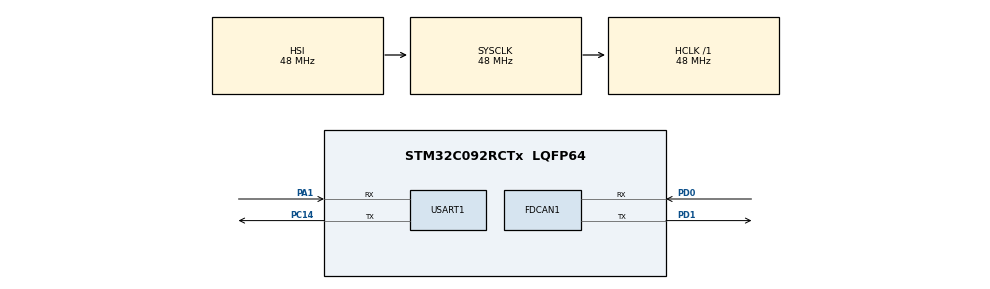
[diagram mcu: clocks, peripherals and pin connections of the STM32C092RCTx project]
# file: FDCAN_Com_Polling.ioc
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FDCAN1.AutoRetransmission=ENABLE
FDCAN1.CalculateBaudRateData=1000000
FDCAN1.CalculateBaudRateNominal=1000000
FDCAN1.CalculateTimeBitNominal=1000
FDCAN1.CalculateTimeQuantumNominal=20.833333333333332
FDCAN1.DataSyncJumpWidth=6
FDCAN1.DataTimeSeg1=17
FDCAN1.DataTimeSeg2=6
FDCAN1.FrameFormat=FDCAN_FRAME_FD_BRS
FDCAN1.NominalPrescaler=1
FDCAN1.NominalSyncJumpWidth=12
FDCAN1.NominalTimeSeg1=35
FDCAN1.NominalTimeSeg2=12
FDCAN1.StdFiltersNbr=1
FDCAN1.TransmitPause=ENABLE
Mcu.Family=STM32C0
Mcu.Name=STM32C092RCTx
Mcu.Package=LQFP64
NUCLEO-C092RC.LD1=true
NUCLEO-C092RC.LD2=true
NUCLEO-C092RC.VCP=true
PA1.Mode=Asynchronous
PA1.Signal=USART1_RX
PC14-OSCX_IN(PC14).Mode=Asynchronous
PC14-OSCX_IN(PC14).Signal=USART1_TX
PD0.Mode=FDCAN_Activate
PD0.Signal=FDCAN1_RX
PD1.Mode=FDCAN_Activate
PD1.Signal=FDCAN1_TX
ProjectManager.HeapSize=0x200
ProjectManager.StackSize=0x400
ProjectManager.TargetToolchain=STM32CubeIDE
RCC.ADCFreq_Value=48000000
RCC.AHBFreq_Value=48000000
RCC.CortexFreq_Value=48000000
RCC.EXTERNAL_CLOCK_VALUE=12288000
RCC.HCLKFreq_Value=48000000
RCC.HSE_VALUE=8000000
RCC.HSISYSCLKDivider=RCC_HSI_DIV1
RCC.HSI_VALUE=48000000
RCC.LSE_VALUE=32768
RCC.SYSCLKFreq_VALUE=48000000
USART1.VirtualMode-Asynchronous=VM_ASYNC
VP_NUCLEO-C092RC_VS_BSP_COMMON.Mode=COMMON
board=NUCLEO-C092RC

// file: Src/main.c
/* USER CODE BEGIN Header */
/**
  ******************************************************************************
  * @file    FDCAN/FDCAN_Com_Polling/Src/main.c
  * @author  MCD Application Team
  * @brief   This sample code shows how to achieve Polling Process Communication
  *          between two FDCAN units.
  ******************************************************************************
  * @attention
  *
  * Copyright (c) 2024 STMicroelectronics.
  * All rights reserved.
  *
  * This software is licensed under terms that can be found in the LICENSE file
  * in the root directory of this software component.
  * If no LICENSE file comes with this software, it is provided AS-IS.
  *
  ******************************************************************************
  */
/* USER CODE END Header */
#include "main.h"

/* USER CODE BEGIN PD */
#define TX_ID          (0x100)   /* TX CAN message identifier    */
#define RX_ID          (0x100)   /* RX CAN message identifier    */
/* USER CODE END PD */

/* USER CODE BEGIN PM */
#define COUNTOF(BUFFER) (sizeof((BUFFER)) / sizeof(*(BUFFER)))
/* USER CODE END PM */

COM_InitTypeDef BspCOMInit;

FDCAN_HandleTypeDef hfdcan1;

UART_HandleTypeDef huart1;

/* USER CODE BEGIN PV */
FDCAN_RxHeaderTypeDef rxHeader;
FDCAN_TxHeaderTypeDef txHeader;
uint8_t rxData[16U];
static const uint8_t txData[] = {0x66, 0x66, 0xff, 0xff, 0x98, 0x00, 0x11, 0x22,
                                 0x33, 0x44, 0x55, 0x66, 0x77, 0x88, 0x99, 0x00
                                };

/* USER CODE END PV */

void SystemClock_Config(void);
static void MX_GPIO_Init(void);
static void MX_FDCAN1_Init(void);
static void MX_USART1_UART_Init(void);
/* USER CODE BEGIN PFP */
static uint32_t BufferCmp8b(const uint8_t *pBuffer1, const uint8_t *pBuffer2, uint16_t BufferLength);

/* USER CODE END PFP */

int main(void)
{

  /* USER CODE BEGIN 1 */

  /* STM32C0xx HAL library initialization:
       - Configure the Flash prefetch
       - Systick timer is configured by default as source of time base, but user
         can eventually implement his proper time base source (a general purpose
         timer for example or other time source), keeping in mind that Time base
         duration should be kept 1ms since PPP_TIMEOUT_VALUEs are defined and
         handled in milliseconds basis.
       - Low Level Initialization
     */
  /* USER CODE END 1 */

  /* MCU Configuration--------------------------------------------------------*/

  /* Reset of all peripherals, Initializes the Flash interface and the Systick. */
  HAL_Init();

  /* Configure the system clock */
  SystemClock_Config();

  /* USER CODE BEGIN SysInit */
  /* Configure LED1 and LED2 */
  BSP_LED_Init(LED1);
  BSP_LED_Init(LED2);

  /* Configure User push-button in interrupt mode */
  BSP_PB_Init(BUTTON_USER, BUTTON_MODE_EXTI);

  /* USER CODE END SysInit */

  /* Initialize all configured peripherals */
  MX_GPIO_Init();
  MX_FDCAN1_Init();
  MX_USART1_UART_Init();
  /* USER CODE BEGIN 2 */

  /* Configure reception filter to Rx FIFO 0 */
  FDCAN_FilterTypeDef        sFilterConfig;
  sFilterConfig.IdType       = FDCAN_STANDARD_ID;
  sFilterConfig.FilterIndex  = 0U;
  sFilterConfig.FilterType   = FDCAN_FILTER_MASK;
  sFilterConfig.FilterConfig = FDCAN_FILTER_TO_RXFIFO0;
  sFilterConfig.FilterID1    = TX_ID;
  sFilterConfig.FilterID2    = 0x7FF;
  if (HAL_FDCAN_ConfigFilter(&hfdcan1, &sFilterConfig) != HAL_OK)
  {
    Error_Handler();
  }

  /**
    *  Configure global filter:
    *    - Filter all remote frames with STD and EXT ID
    *    - Reject non matching frames with STD ID and EXT ID
    */
  if (HAL_FDCAN_ConfigGlobalFilter(&hfdcan1,
                                   FDCAN_REJECT, FDCAN_REJECT,
                                   FDCAN_FILTER_REMOTE, FDCAN_FILTER_REMOTE) != HAL_OK)
  {
    Error_Handler();
  }

  /* Prepare Tx message Header */
  txHeader.Identifier          = TX_ID;
  txHeader.IdType              = FDCAN_STANDARD_ID;
  txHeader.TxFrameType         = FDCAN_DATA_FRAME;
  txHeader.DataLength          = FDCAN_DLC_BYTES_16;
  txHeader.ErrorStateIndicator = FDCAN_ESI_ACTIVE;
  txHeader.BitRateSwitch       = FDCAN_BRS_ON;
  txHeader.FDFormat            = FDCAN_FD_CAN;
  txHeader.TxEventFifoControl  = FDCAN_NO_TX_EVENTS;
  txHeader.MessageMarker       = 0U;

  /**
    * Configure and enable Tx Delay Compensation, required for BRS mode.
    * TdcOffset default recommended value: DataTimeSeg1 * DataPrescaler
    * TdcFilter default recommended value: 0
    */
  if (HAL_FDCAN_ConfigTxDelayCompensation(&hfdcan1,
                                          (hfdcan1.Init.DataPrescaler * hfdcan1.Init.DataTimeSeg1), 0U) != HAL_OK)
  {
    Error_Handler();
  }

  if (HAL_FDCAN_EnableTxDelayCompensation(&hfdcan1) != HAL_OK)
  {
    Error_Handler();
  }

  /* Start FDCAN controller */
  if (HAL_FDCAN_Start(&hfdcan1) != HAL_OK)
  {
    Error_Handler();
  }
  /* USER CODE END 2 */

  /* Initialize leds */
  BSP_LED_Init(LED_GREEN);
  BSP_LED_Init(LED_BLUE);

  /* Initialize COM1 port (115200, 8 bits (7-bit data + 1 stop bit), no parity */
  BspCOMInit.BaudRate   = 115200;
  BspCOMInit.WordLength = COM_WORDLENGTH_8B;
  BspCOMInit.StopBits   = COM_STOPBITS_1;
  BspCOMInit.Parity     = COM_PARITY_NONE;
  BspCOMInit.HwFlowCtl  = COM_HWCONTROL_NONE;
  if (BSP_COM_Init(COM1, &BspCOMInit) != BSP_ERROR_NONE)
  {
    Error_Handler();
  }

  /* Infinite loop */
  /* USER CODE BEGIN WHILE */
  while (1)
  {
    /* Polling mode: Wait for one message received */
    while (HAL_FDCAN_GetRxFifoFillLevel(&hfdcan1, FDCAN_RX_FIFO0) < 1U)
    {
      /* Do nothing, wait */
    }

    /* Retrieve Rx message from RX FIFO0 */
    if (HAL_FDCAN_GetRxMessage(&hfdcan1, FDCAN_RX_FIFO0, &rxHeader, rxData) != HAL_OK)
    {
      Error_Handler();
    }

    /* Compare received RX message to expected data. Ignore if not matching.
     *
     if ((rxHeader.Identifier == RX_ID) &&
        (rxHeader.IdType     == FDCAN_STANDARD_ID) &&
        (rxHeader.DataLength == FDCAN_DLC_BYTES_16) &&
        (BufferCmp8b(txData, rxData, COUNTOF(rxData)) == 0U))
     * */
    if ((rxHeader.Identifier == RX_ID) &&
        (rxHeader.IdType     == FDCAN_STANDARD_ID) &&
        (rxHeader.DataLength == FDCAN_DLC_BYTES_16))
    {
      /* Turn LED1 on */
      BSP_LED_On(LED1);
      BSP_LED_On(LED2);
      printf("LEDS ON\r\n");
      HAL_FDCAN_GetRxMessage(&hfdcan1, FDCAN_RX_FIFO0, &rxHeader, rxData);
      for (int i = 0; i <= 15; i++) {
              printf("Raw Data: %d %x\r\n", i, rxData[i]);
          }
    }
    /* USER CODE END WHILE */

  }
}

void SystemClock_Config(void)
{
  RCC_OscInitTypeDef RCC_OscInitStruct = {0};
  RCC_ClkInitTypeDef RCC_ClkInitStruct = {0};

  __HAL_FLASH_SET_LATENCY(FLASH_LATENCY_1);

  /** Initializes the RCC Oscillators according to the specified parameters
  * in the RCC_OscInitTypeDef structure.
  */
  RCC_OscInitStruct.OscillatorType = RCC_OSCILLATORTYPE_HSI;
  RCC_OscInitStruct.HSIState = RCC_HSI_ON;
  RCC_OscInitStruct.HSIDiv = RCC_HSI_DIV1;
  RCC_OscInitStruct.HSICalibrationValue = RCC_HSICALIBRATION_DEFAULT;
  if (HAL_RCC_OscConfig(&RCC_OscInitStruct) != HAL_OK)
  {
    Error_Handler();
  }

  /** Initializes the CPU, AHB and APB buses clocks
  */
  RCC_ClkInitStruct.ClockType = RCC_CLOCKTYPE_HCLK|RCC_CLOCKTYPE_SYSCLK
                              |RCC_CLOCKTYPE_PCLK1;
  RCC_ClkInitStruct.SYSCLKSource = RCC_SYSCLKSOURCE_HSI;
  RCC_ClkInitStruct.SYSCLKDivider = RCC_SYSCLK_DIV1;
  RCC_ClkInitStruct.AHBCLKDivider = RCC_HCLK_DIV1;
  RCC_ClkInitStruct.APB1CLKDivider = RCC_APB1_DIV1;

  if (HAL_RCC_ClockConfig(&RCC_ClkInitStruct, FLASH_LATENCY_1) != HAL_OK)
  {
    Error_Handler();
  }
}

static void MX_FDCAN1_Init(void)
{

  hfdcan1.Instance = FDCAN1;
  hfdcan1.Init.ClockDivider = FDCAN_CLOCK_DIV1;
  hfdcan1.Init.FrameFormat = FDCAN_FRAME_FD_BRS;
  hfdcan1.Init.Mode = FDCAN_MODE_NORMAL;
  hfdcan1.Init.AutoRetransmission = ENABLE;
  hfdcan1.Init.TransmitPause = ENABLE;
  hfdcan1.Init.ProtocolException = DISABLE;
  hfdcan1.Init.NominalPrescaler = 1;
  hfdcan1.Init.NominalSyncJumpWidth = 12;
  hfdcan1.Init.NominalTimeSeg1 = 35;
  hfdcan1.Init.NominalTimeSeg2 = 12;
  hfdcan1.Init.DataPrescaler = 1;
  hfdcan1.Init.DataSyncJumpWidth = 6;
  hfdcan1.Init.DataTimeSeg1 = 17;
  hfdcan1.Init.DataTimeSeg2 = 6;
  hfdcan1.Init.StdFiltersNbr = 1;
  hfdcan1.Init.ExtFiltersNbr = 0;
  hfdcan1.Init.TxFifoQueueMode = FDCAN_TX_FIFO_OPERATION;
  if (HAL_FDCAN_Init(&hfdcan1) != HAL_OK)
  {
    Error_Handler();
  }

}

static void MX_USART1_UART_Init(void)
{

  huart1.Instance = USART1;
  huart1.Init.BaudRate = 115200;
  huart1.Init.WordLength = UART_WORDLENGTH_8B;
  huart1.Init.StopBits = UART_STOPBITS_1;
  huart1.Init.Parity = UART_PARITY_NONE;
  huart1.Init.Mode = UART_MODE_TX_RX;
  huart1.Init.HwFlowCtl = UART_HWCONTROL_NONE;
  huart1.Init.OverSampling = UART_OVERSAMPLING_16;
  huart1.Init.OneBitSampling = UART_ONE_BIT_SAMPLE_DISABLE;
  huart1.Init.ClockPrescaler = UART_PRESCALER_DIV1;
  huart1.AdvancedInit.AdvFeatureInit = UART_ADVFEATURE_NO_INIT;
  if (HAL_UART_Init(&huart1) != HAL_OK)
  {
    Error_Handler();
  }
  if (HAL_UARTEx_SetTxFifoThreshold(&huart1, UART_TXFIFO_THRESHOLD_1_8) != HAL_OK)
  {
    Error_Handler();
  }
  if (HAL_UARTEx_SetRxFifoThreshold(&huart1, UART_RXFIFO_THRESHOLD_1_8) != HAL_OK)
  {
    Error_Handler();
  }
  if (HAL_UARTEx_DisableFifoMode(&huart1) != HAL_OK)
  {
    Error_Handler();
  }

}

static void MX_GPIO_Init(void)
{

  /* GPIO Ports Clock Enable */
  __HAL_RCC_GPIOC_CLK_ENABLE();
  __HAL_RCC_GPIOA_CLK_ENABLE();
  __HAL_RCC_GPIOD_CLK_ENABLE();

}

/* USER CODE BEGIN 4 */

/**
  * @brief  BSP User push-button callback
  * @param  Button Specifies the pin connected EXTI line
  * @retval None.
  */
void BSP_PB_Callback(Button_TypeDef Button)
{
  if (Button == BUTTON_USER)
  {
    /* Turn LED1 off */
    BSP_LED_Off(LED1);
    BSP_LED_Off(LED2);
    printf("LEDS OFF\r\n");

    /* Add message to TX FIFO */
    if (HAL_FDCAN_AddMessageToTxFifoQ(&hfdcan1, &txHeader, txData) != HAL_OK)
    {
      Error_Handler();
    }

    /* Delay for simple button debounce */
    HAL_Delay(100U);
  }
}

/**
  * @brief  Compares two buffers.
  * @param  pBuffer1 buffer to be compared.
  * @param  pBuffer2 buffer to be compared.
  * @param  BufferLength: buffer's length.
  * @retval 0: pBuffer1 is identical to pBuffer2
  * @retval 1: pBuffer1 differs from pBuffer2
  */
static uint32_t BufferCmp8b(const uint8_t *pBuffer1, const uint8_t *pBuffer2, uint16_t BufferLength)
{
  while (BufferLength--)
  {
    if (*pBuffer1 != *pBuffer2)
    {
      return 1U;
    }

    pBuffer1++;
    pBuffer2++;
  }
  return 0U;
}
/* USER CODE END 4 */

void Error_Handler(void)
{
  /* USER CODE BEGIN Error_Handler_Debug */
  /* User can add his own implementation to report the HAL error return state */

  while (1)
  {
    /* Toggle LED2 on */
    BSP_LED_Toggle(LED2);

    /* 1s delay */
    HAL_Delay(1000U);
  }
  /* USER CODE END Error_Handler_Debug */
}
